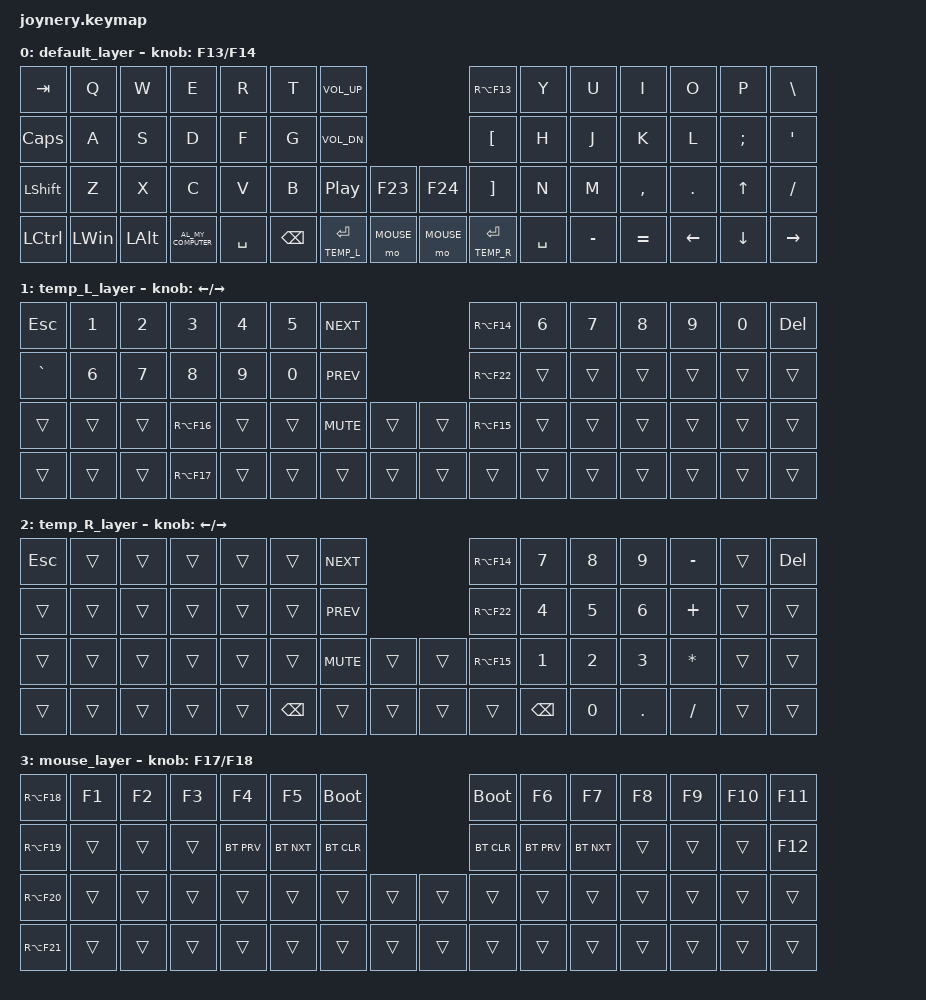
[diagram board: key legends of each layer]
#include <behaviors.dtsi>
#include <dt-bindings/zmk/keys.h>
#include <dt-bindings/zmk/bt.h>

#define DEFAULT 0
#define TEMP_L  1
#define TEMP_R  2
#define MOUSE   3

/ {
    combos {
        compatible = "zmk,combos";
        combo_esc {
            timeout-ms = <50>;
            key-positions = <0 1>;
            bindings = <&kp ESC>;
            layers = <0>;
        };
        combo_del {
            timeout-ms = <50>;
            key-positions = <12 13>;
            bindings = <&kp DEL>;
            layers = <0>;
        };
    };
};

/ {
	keymap {
		compatible = "zmk,keymap";

		default_layer {
// ---------------------------------------------------------------------------------------------------------------------------------
// |  TAB  |  Q  |  W  |  E   |  R   |  T   |  VLUP  |                       |  WEB  |   Y   |   U   |  I   |  O   |   P   |   \  |
// |  CAP  |  A  |  S  |  D   |  F   |  G   |  VLDN  |                       |  [    |   H   |   J   |  K   |  L   |   ;   |   '  |
// | SHIFT |  Z  |  X  |  C   |  V   |  B   |  PAUSE | RGT CLICK | LFT CLICK |  ]    |   N   |   M   |  ,   |  .   |   UP  |   /  |
// | CTRL  | WIN | ALT | FILE |SPACE | BSPC | TMPLYR | WEB BACK  | WEB RGHT  | TMPLYR| SPACE |   -   |  =   | LFT  |  DWN  | RGHT |
			bindings = <

	&kp TAB   &kp Q    &kp W    &kp E                &kp R     &kp T    &kp C_VOL_UP                            &kp RA(F13)    &kp Y     &kp U     &kp I     &kp O    &kp P    &kp BSLH
	&kp CAPS  &kp A    &kp S    &kp D                &kp F     &kp G    &kp C_VOL_DN                            &kp LBKT       &kp H     &kp J     &kp K     &kp L    &kp SEMI &kp SQT
	&kp LSHFT &kp Z    &kp X    &kp C                &kp V     &kp B    &kp C_PP        &kp F23   &kp F24   &kp RBKT       &kp N     &kp M     &kp COMMA &kp DOT  &kp UP   &kp FSLH
	&kp LCTRL &kp LWIN &kp LALT &kp C_AL_MY_COMPUTER &kp SPACE &kp BSPC &lt TEMP_L RET  &mo MOUSE &mo MOUSE &lt TEMP_R RET &kp SPACE &kp MINUS &kp EQUAL &kp LEFT &kp DOWN &kp RIGHT
			>;
			// move cursor SLOW left right / up down
//			sensor-bindings = <&inc_dec_kp F13 F14 &inc_dec_kp F15 F16>;
			sensor-bindings = <&inc_dec_kp F13 F14>;
		};
		
		temp_L_layer {
// ---------------------------------------------------------------------------------------------------------------------------------
// |  ESC  |  N1 |  N2 |  N3  |  N4  |  N5  |  NEXT  |                       | MUSIC |   N7  |   N8  |  N9  |  -   |   v   |  DEL |
// |   `~  |  N6 |  N7 |  N8  |  N9  |  N0  |  PREV  |                       |  F22  |   N4  |   N5  |  N6  |  +   |   v   |   v  |
// |   v   |  v  |  v  |  v   |  CAL |  v   |  MUTE  |     v     |     v     |Address|   N1  |   N2  |  N3  |  *   |   v   |   v  |
// |   v   |  v  |  v  |  v   | EMAIL|  v   |  v     |     v     |     v     |   v   |  BSPC |   N0  |  .   |  /   |   v   |   v  |
			bindings = <
	
	&kp ESC   &kp N1 &kp N2 &kp N3      &kp N4 &kp N5 &kp C_NEXT                &kp RA(F14) &kp N6 &kp N7 &kp N8 &kp N9 &kp N0 &kp DEL
	&kp GRAVE &kp N6 &kp N7 &kp N8      &kp N9 &kp N0 &kp C_PREV                &kp RA(F22) &trans &trans &trans &trans &trans &trans
	&trans    &trans &trans &kp RA(F16) &trans &trans &kp C_MUTE &trans  &trans &kp RA(F15) &trans &trans &trans &trans &trans &trans
	&trans    &trans &trans &kp RA(F17)	&trans &trans &trans     &trans  &trans &trans      &trans &trans &trans &trans &trans &trans
	
			>;
			// scroll left right / up down
//			sensor-bindings = <&inc_dec_kp LEFT RIGHT &inc_dec_kp PG_UP PG_DN>;
			sensor-bindings = <&inc_dec_kp LEFT RIGHT>;
		};

		
		temp_R_layer {
// ---------------------------------------------------------------------------------------------------------------------------------
// | ESC |  v |  v |  v  |  v  |  v  | NEXT |                       | MUSIC |   N7  |   N8  |  N9  |  -   |   v   |  DEL |
// |  v  |  v |  v |  v  |  v  |  v  | PREV |                       |  F22  |   N4  |   N5  |  N6  |  +   |   v   |   v  |
// |  v  |  v |  v |  v  |  v  |  v  | MUTE |     v     |     v     |Address|   N1  |   N2  |  N3  |  *   |   v   |   v  |
// |  v  |  v |  v |  v  |  v  |  v  | BSPC |     v     |     v     |   v   |  BSPC |   N0  |  .   |  /   |   v   |   v  |
			bindings = <
	
	&kp ESC &trans &trans &trans &trans &trans   &kp C_NEXT               &kp RA(F14) &kp N7   &kp N8 &kp N9    &kp MINUS &trans &kp DEL
	&trans  &trans &trans &trans &trans &trans   &kp C_PREV               &kp RA(F22) &kp N4   &kp N5 &kp N6    &kp PLUS  &trans &trans
	&trans  &trans &trans &trans &trans &trans   &kp C_MUTE &trans &trans &kp RA(F15) &kp N1   &kp N2 &kp N3    &kp STAR  &trans &trans
	&trans  &trans &trans &trans &trans &kp BSPC &trans     &trans &trans &trans      &kp BSPC &kp N0 &kp DOT   &kp SLASH &trans &trans
	
			>;
			// scroll left right / up down
//			sensor-bindings = <&inc_dec_kp LEFT RIGHT &inc_dec_kp PG_UP PG_DN>;
			sensor-bindings = <&inc_dec_kp LEFT RIGHT>;
		};

		mouse_layer {
// ---------------------------------------------------------------------------------------------------------------------------------
// |  PWR  | F1  |  F2 |  F3  |  F4  |  F5  | BTLDR  |                       | BTLDR |  F6   |  F7   |  F8  |  F9  |  F10  |  F11 |
// |  HIB  |  v  |  v  |  v   |BT_PRV|BT_NXT| BT_CLR |                       | BT_CLR|BT_PRV | BT_NXT|  v   |  v   |   v   |  F12 |
// | SLEEP |  v  |  v  |  v   |  v   |  v   |   v    |     v     |     v     |   v   |   v   |   v   |  v   |  v   |   v   |   v  |
// |  LOCK |  v  |  v  |  v   |  v   |  v   |   v    |     v     |     v     |   v   |   v   |   v   |  v   |  v   |   v   |   v  |
			bindings = <
	
	&kp RA(F18) &kp F1 &kp F2 &kp F3 &kp F4     &kp F5     &bootloader               &bootloader &kp F6     &kp F7     &kp F8 &kp F9 &kp F10 &kp F11
	&kp RA(F19) &trans &trans &trans &bt BT_PRV &bt BT_NXT &bt BT_CLR                &bt BT_CLR  &bt BT_PRV &bt BT_NXT &trans &trans &trans  &kp F12
	&kp RA(F20) &trans &trans &trans &trans     &trans     &trans     &trans  &trans &trans      &trans     &trans     &trans &trans &trans  &trans
	&kp RA(F21) &trans &trans &trans &trans     &trans     &trans     &trans  &trans &trans      &trans     &trans     &trans &trans &trans  &trans
	
			>;
			// move cursor FAR left right / up down
//			sensor-bindings = <&inc_dec_kp F17 F18 &inc_dec_kp F19 F20>;
			sensor-bindings = <&inc_dec_kp F17 F18>;
		};
	};
};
